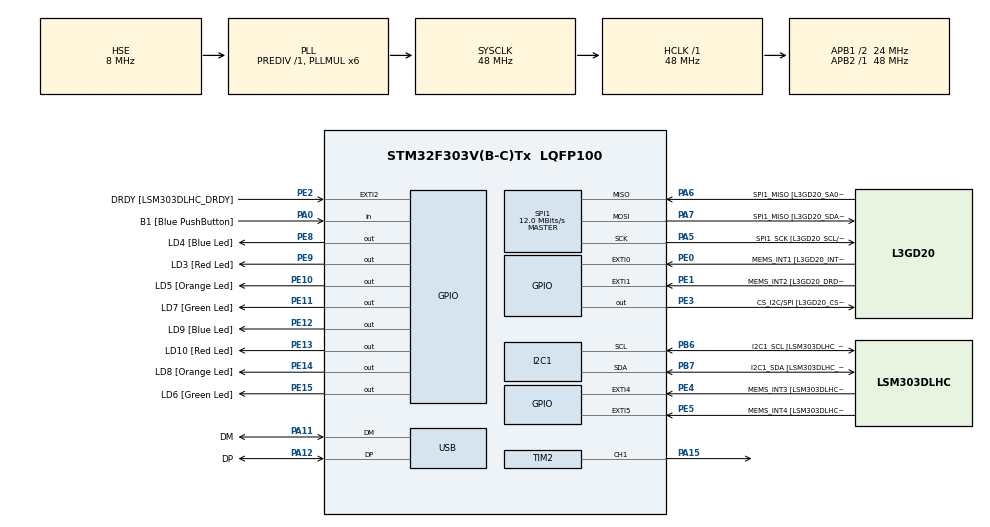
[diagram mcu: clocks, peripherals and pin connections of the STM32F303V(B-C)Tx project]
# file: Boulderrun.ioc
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I2C1.Timing=0x2000090E
I2C1.Timing-I2C=0x2000090E
Mcu.Family=STM32F3
Mcu.Name=STM32F303V(B-C)Tx
Mcu.Package=LQFP100
NVIC.PriorityGroup=NVIC_PRIORITYGROUP_0
PA0.GPIO_Label=B1 [Blue PushButton]
PA0.Signal=GPIO_Input
PA11.GPIO_Label=DM
PA11.Mode=Device
PA11.Signal=USB_DM
PA12.GPIO_Label=DP
PA12.Mode=Device
PA12.Signal=USB_DP
PA13.GPIO_Label=SWDIO
PA13.Mode=Serial_Wire
PA13.Signal=SYS_JTMS-SWDIO
PA14.GPIO_Label=SWCLK
PA14.Mode=Serial_Wire
PA14.Signal=SYS_JTCK-SWCLK
PA15.Signal=S_TIM2_CH1_ETR
PA5.GPIO_Label=SPI1_SCK [L3GD20_SCL/SPC]
PA5.Mode=Full_Duplex_Master
PA5.Signal=SPI1_SCK
PA6.GPIO_Label=SPI1_MISO [L3GD20_SA0/SDO]
PA6.Mode=Full_Duplex_Master
PA6.Signal=SPI1_MISO
PA7.GPIO_Label=SPI1_MISO [L3GD20_SDA/SDI/SDO]
PA7.Mode=Full_Duplex_Master
PA7.Signal=SPI1_MOSI
PB3.GPIO_Label=SWO
PB3.Signal=SYS_JTDO-TRACESWO
PB6.GPIO_Label=I2C1_SCL [LSM303DLHC_SCL]
PB6.GPIO_Pu=GPIO_PULLUP
PB6.Mode=I2C
PB6.Signal=I2C1_SCL
PB7.GPIO_Label=I2C1_SDA [LSM303DLHC_SDA]
PB7.GPIO_Pu=GPIO_PULLUP
PB7.Mode=I2C
PB7.Signal=I2C1_SDA
PC14-OSC32_IN.GPIO_Label=OSC32_IN
PC14-OSC32_IN.Signal=RCC_OSC32_IN
PC15-OSC32_OUT.GPIO_Label=OSC32_OUT
PC15-OSC32_OUT.Signal=RCC_OSC32_OUT
PE0.GPIO_Label=MEMS_INT1 [L3GD20_INT1]
PE0.GPIO_ModeDefaultEXTI=GPIO_MODE_EVT_RISING
PE0.Signal=GPXTI0
PE1.GPIO_Label=MEMS_INT2 [L3GD20_DRDY/INT2]
PE1.GPIO_ModeDefaultEXTI=GPIO_MODE_EVT_RISING
PE1.Signal=GPXTI1
PE10.GPIO_Label=LD5 [Orange Led]
PE10.Signal=GPIO_Output
PE11.GPIO_Label=LD7 [Green Led]
PE11.Signal=GPIO_Output
PE12.GPIO_Label=LD9 [Blue Led]
PE12.Signal=GPIO_Output
PE13.GPIO_Label=LD10 [Red Led]
PE13.Signal=GPIO_Output
PE14.GPIO_Label=LD8 [Orange Led]
PE14.Signal=GPIO_Output
PE15.GPIO_Label=LD6 [Green Led]
PE15.Signal=GPIO_Output
PE2.GPIO_Label=DRDY [LSM303DLHC_DRDY]
PE2.GPIO_ModeDefaultEXTI=GPIO_MODE_EVT_RISING
PE2.Signal=GPXTI2
PE3.GPIO_Label=CS_I2C/SPI [L3GD20_CS_I2C/SPI]
PE3.Signal=GPIO_Output
PE4.GPIO_Label=MEMS_INT3 [LSM303DLHC_INT1]
PE4.GPIO_ModeDefaultEXTI=GPIO_MODE_EVT_RISING
PE4.Signal=GPXTI4
PE5.GPIO_Label=MEMS_INT4 [LSM303DLHC_INT2]
PE5.GPIO_ModeDefaultEXTI=GPIO_MODE_EVT_RISING
PE5.Signal=GPXTI5
PE8.GPIO_Label=LD4 [Blue Led]
PE8.Signal=GPIO_Output
PE9.GPIO_Label=LD3 [Red Led]
PE9.Signal=GPIO_Output
PF0-OSC_IN.GPIO_Label=OSC_IN
PF0-OSC_IN.Mode=HSE-External-Clock-Source
PF0-OSC_IN.Signal=RCC_OSC_IN
PF1-OSC_OUT.GPIO_Label=OSC_OUT
PF1-OSC_OUT.Signal=RCC_OSC_OUT
ProjectManager.HeapSize=0x200
ProjectManager.StackSize=0x400
ProjectManager.TargetToolchain=STM32CubeIDE
RCC.AHBFreq_Value=48000000
RCC.APB1CLKDivider=RCC_HCLK_DIV2
RCC.APB1Freq_Value=24000000
RCC.APB1TimFreq_Value=48000000
RCC.APB2Freq_Value=48000000
RCC.APB2TimFreq_Value=48000000
RCC.CortexFreq_Value=48000000
RCC.HCLKFreq_Value=48000000
RCC.HSE_VALUE=8000000
RCC.HSI_VALUE=8000000
RCC.LSE_VALUE=32768
RCC.PLLMUL=RCC_PLL_MUL6
RCC.SYSCLKFreq_VALUE=48000000
RCC.SYSCLKSourceVirtual=RCC_SYSCLKSOURCE_PLLCLK
RCC.USBFreq_Value=48000000
SH.S_TIM2_CH1_ETR.0=TIM2_CH1,PWM Generation1 CH1
SPI1.BaudRatePrescaler=SPI_BAUDRATEPRESCALER_4
SPI1.BaudRatePrescaler-Full_Duplex_Master=SPI_BAUDRATEPRESCALER_2
SPI1.CalculateBaudRate=12.0 MBits/s
SPI1.CalculateBaudRate-Full_Duplex_Master=24.0 MBits/s
SPI1.Direction=SPI_DIRECTION_2LINES
SPI1.Mode=SPI_MODE_MASTER
SPI1.Mode-Full_Duplex_Master=SPI_MODE_MASTER
SPI1.VirtualType=VM_MASTER
TIM2.Channel-PWM\ Generation1\ CH1=TIM_CHANNEL_1
TIM2.Period=20000
TIM2.Prescaler=47
board=STM32F3DISCOVERY

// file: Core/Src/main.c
/* USER CODE BEGIN Header */
/**
  ******************************************************************************
  * @file           : main.c
  * @brief          : Main program body
  ******************************************************************************
  * @attention
  *
  * Copyright (c) 2025 STMicroelectronics.
  * All rights reserved.
  *
  * This software is licensed under terms that can be found in the LICENSE file
  * in the root directory of this software component.
  * If no LICENSE file comes with this software, it is provided AS-IS.
  *
  ******************************************************************************
  */
/* USER CODE END Header */
#include <delay.h>
#include "main.h"
#include <stdint.h>
#include <stdbool.h>
#include "enable.h"
#include "led.h"
#include "adc.h"
#include "beats.h"

I2C_HandleTypeDef hi2c1;

SPI_HandleTypeDef hspi1;

TIM_HandleTypeDef htim2;

PCD_HandleTypeDef hpcd_USB_FS;

void SystemClock_Config(void);
static void MX_GPIO_Init(void);
static void MX_I2C1_Init(void);
static void MX_SPI1_Init(void);
static void MX_USB_PCD_Init(void);
static void MX_TIM2_Init(void);

/* USER CODE BEGIN 0 */

static bool memory_game_finished = false;

void memory_game_complete() {
	memory_game_finished = true;
}

/* USER CODE END 0 */

int main(void)
{

  /* USER CODE BEGIN 1 */

	  /* Reset of all peripherals, Initializes the Flash interface and the Systick. */
	  HAL_Init();

	  SystemClock_Config();

	  __HAL_RCC_GPIOA_CLK_ENABLE();

	  /* Initialize all configured peripherals */
	  MX_GPIO_Init();
	  MX_I2C1_Init();
	  MX_SPI1_Init();
	  MX_USB_PCD_Init();

	  // Memory game
	  init_buttons();
	  finally_module_complete = memory_game_complete;

	  while (memory_game_finished == false) {
	  }

/*The code below enables pin A5 to an ADC converter and constantly checks if the read voltage has gone
 * out of range of the set buffer. If so one led turns on to notify the user they have one second to
 * simulate the same voltage. If after one second the reading is still different the motor will turn counter-
 * clockwise by 45 degrees. If after one second the voltage is set back to within teh buffer the light turns
 * off and nothing happens. */

  /* USER CODE END 1 */

  /* MCU Configuration--------------------------------------------------------*/

  /* Reset of all peripherals, Initializes the Flash interface and the Systick. */
  HAL_Init();

  /* Configure the system clock */
  SystemClock_Config();

  /* Initialize all configured peripherals */
  MX_GPIO_Init();
  MX_I2C1_Init();
  MX_SPI1_Init();
  MX_USB_PCD_Init();
  MX_TIM2_Init();
  /* USER CODE BEGIN 2 */

  /*enable pwm with timer 2 to pin A15*/
  HAL_TIM_PWM_Start(&htim2, TIM_CHANNEL_1);
  enable_clocks();
  //Enable LEDs
  initialise_board();
  //Enable ADC converter in pin A5
  enable_ADC();
  //Buffer that the read voltage has to stay within.
  uint32_t buffer = 50;
  /* USER CODE END 2 */

  /* Infinite loop */
  /* USER CODE BEGIN WHILE */
  //This sets the base voltage that must kept within range of
  uint16_t set_voltage = ReadADC();
//Rotate motor clockwise
  TIM2->CCR1 = 1000;
//delay function delays the board by a certain time in ms
//the delay is equivalent to 45 degrees
  delay(250);
  //Stop motor
  TIM2->CCR1 = 0;

  while (1)
  {
	  //Read the voltage
	  uint16_t current_voltage = ReadADC();
	  //If voltage is out of scope proceed
		if (current_voltage - buffer > set_voltage || current_voltage + buffer < set_voltage){
			//Turn on one LED
			set_led_register(1);
			//Wait 1 second
			delay(1000);
			//Check the current voltage again
			current_voltage = ReadADC();
			//Checks if still out of scope
			if (current_voltage - buffer > set_voltage || current_voltage + buffer < set_voltage){
			//Turn on two LEDs
			set_led_register(3);
			//Rotate motor counter-clockwise
			TIM2->CCR1 = 2000;
			//Delay equivalent to 45 dgrees
			delay(250);
			TIM2->CCR1 = 0;
			//Stop motor
			while(1){}
			}
		}else{
			//If voltage still in range do nothing and continue loop
			set_led_register(0);
			TIM2->CCR1 = 0;
		}
    /* USER CODE END WHILE */

  }
}

void SystemClock_Config(void)
{
  RCC_OscInitTypeDef RCC_OscInitStruct = {0};
  RCC_ClkInitTypeDef RCC_ClkInitStruct = {0};
  RCC_PeriphCLKInitTypeDef PeriphClkInit = {0};

  /** Initializes the RCC Oscillators according to the specified parameters
  * in the RCC_OscInitTypeDef structure.
  */
  RCC_OscInitStruct.OscillatorType = RCC_OSCILLATORTYPE_HSI|RCC_OSCILLATORTYPE_HSE;
  RCC_OscInitStruct.HSEState = RCC_HSE_BYPASS;
  RCC_OscInitStruct.HSEPredivValue = RCC_HSE_PREDIV_DIV1;
  RCC_OscInitStruct.HSIState = RCC_HSI_ON;
  RCC_OscInitStruct.HSICalibrationValue = RCC_HSICALIBRATION_DEFAULT;
  RCC_OscInitStruct.PLL.PLLState = RCC_PLL_ON;
  RCC_OscInitStruct.PLL.PLLSource = RCC_PLLSOURCE_HSE;
  RCC_OscInitStruct.PLL.PLLMUL = RCC_PLL_MUL6;
  if (HAL_RCC_OscConfig(&RCC_OscInitStruct) != HAL_OK)
  {
    Error_Handler();
  }

  /** Initializes the CPU, AHB and APB buses clocks
  */
  RCC_ClkInitStruct.ClockType = RCC_CLOCKTYPE_HCLK|RCC_CLOCKTYPE_SYSCLK
                              |RCC_CLOCKTYPE_PCLK1|RCC_CLOCKTYPE_PCLK2;
  RCC_ClkInitStruct.SYSCLKSource = RCC_SYSCLKSOURCE_PLLCLK;
  RCC_ClkInitStruct.AHBCLKDivider = RCC_SYSCLK_DIV1;
  RCC_ClkInitStruct.APB1CLKDivider = RCC_HCLK_DIV2;
  RCC_ClkInitStruct.APB2CLKDivider = RCC_HCLK_DIV1;

  if (HAL_RCC_ClockConfig(&RCC_ClkInitStruct, FLASH_LATENCY_1) != HAL_OK)
  {
    Error_Handler();
  }
  PeriphClkInit.PeriphClockSelection = RCC_PERIPHCLK_USB|RCC_PERIPHCLK_I2C1;
  PeriphClkInit.I2c1ClockSelection = RCC_I2C1CLKSOURCE_HSI;
  PeriphClkInit.USBClockSelection = RCC_USBCLKSOURCE_PLL;
  if (HAL_RCCEx_PeriphCLKConfig(&PeriphClkInit) != HAL_OK)
  {
    Error_Handler();
  }
}

static void MX_I2C1_Init(void)
{

  hi2c1.Instance = I2C1;
  hi2c1.Init.Timing = 0x2000090E;
  hi2c1.Init.OwnAddress1 = 0;
  hi2c1.Init.AddressingMode = I2C_ADDRESSINGMODE_7BIT;
  hi2c1.Init.DualAddressMode = I2C_DUALADDRESS_DISABLE;
  hi2c1.Init.OwnAddress2 = 0;
  hi2c1.Init.OwnAddress2Masks = I2C_OA2_NOMASK;
  hi2c1.Init.GeneralCallMode = I2C_GENERALCALL_DISABLE;
  hi2c1.Init.NoStretchMode = I2C_NOSTRETCH_DISABLE;
  if (HAL_I2C_Init(&hi2c1) != HAL_OK)
  {
    Error_Handler();
  }

  /** Configure Analogue filter
  */
  if (HAL_I2CEx_ConfigAnalogFilter(&hi2c1, I2C_ANALOGFILTER_ENABLE) != HAL_OK)
  {
    Error_Handler();
  }

  /** Configure Digital filter
  */
  if (HAL_I2CEx_ConfigDigitalFilter(&hi2c1, 0) != HAL_OK)
  {
    Error_Handler();
  }

}

static void MX_SPI1_Init(void)
{

  /* SPI1 parameter configuration*/
  hspi1.Instance = SPI1;
  hspi1.Init.Mode = SPI_MODE_MASTER;
  hspi1.Init.Direction = SPI_DIRECTION_2LINES;
  hspi1.Init.DataSize = SPI_DATASIZE_4BIT;
  hspi1.Init.CLKPolarity = SPI_POLARITY_LOW;
  hspi1.Init.CLKPhase = SPI_PHASE_1EDGE;
  hspi1.Init.NSS = SPI_NSS_SOFT;
  hspi1.Init.BaudRatePrescaler = SPI_BAUDRATEPRESCALER_4;
  hspi1.Init.FirstBit = SPI_FIRSTBIT_MSB;
  hspi1.Init.TIMode = SPI_TIMODE_DISABLE;
  hspi1.Init.CRCCalculation = SPI_CRCCALCULATION_DISABLE;
  hspi1.Init.CRCPolynomial = 7;
  hspi1.Init.CRCLength = SPI_CRC_LENGTH_DATASIZE;
  hspi1.Init.NSSPMode = SPI_NSS_PULSE_ENABLE;
  if (HAL_SPI_Init(&hspi1) != HAL_OK)
  {
    Error_Handler();
  }

}

static void MX_TIM2_Init(void)
{

  TIM_MasterConfigTypeDef sMasterConfig = {0};
  TIM_OC_InitTypeDef sConfigOC = {0};

  htim2.Instance = TIM2;
  htim2.Init.Prescaler = 47;
  htim2.Init.CounterMode = TIM_COUNTERMODE_UP;
  htim2.Init.Period = 20000;
  htim2.Init.ClockDivision = TIM_CLOCKDIVISION_DIV1;
  htim2.Init.AutoReloadPreload = TIM_AUTORELOAD_PRELOAD_DISABLE;
  if (HAL_TIM_PWM_Init(&htim2) != HAL_OK)
  {
    Error_Handler();
  }
  sMasterConfig.MasterOutputTrigger = TIM_TRGO_RESET;
  sMasterConfig.MasterSlaveMode = TIM_MASTERSLAVEMODE_DISABLE;
  if (HAL_TIMEx_MasterConfigSynchronization(&htim2, &sMasterConfig) != HAL_OK)
  {
    Error_Handler();
  }
  sConfigOC.OCMode = TIM_OCMODE_PWM1;
  sConfigOC.Pulse = 0;
  sConfigOC.OCPolarity = TIM_OCPOLARITY_HIGH;
  sConfigOC.OCFastMode = TIM_OCFAST_DISABLE;
  if (HAL_TIM_PWM_ConfigChannel(&htim2, &sConfigOC, TIM_CHANNEL_1) != HAL_OK)
  {
    Error_Handler();
  }
  HAL_TIM_MspPostInit(&htim2);

}

static void MX_USB_PCD_Init(void)
{

  hpcd_USB_FS.Instance = USB;
  hpcd_USB_FS.Init.dev_endpoints = 8;
  hpcd_USB_FS.Init.speed = PCD_SPEED_FULL;
  hpcd_USB_FS.Init.phy_itface = PCD_PHY_EMBEDDED;
  hpcd_USB_FS.Init.low_power_enable = DISABLE;
  hpcd_USB_FS.Init.battery_charging_enable = DISABLE;
  if (HAL_PCD_Init(&hpcd_USB_FS) != HAL_OK)
  {
    Error_Handler();
  }

}

static void MX_GPIO_Init(void)
{
  GPIO_InitTypeDef GPIO_InitStruct = {0};

  /* GPIO Ports Clock Enable */
  __HAL_RCC_GPIOE_CLK_ENABLE();
  __HAL_RCC_GPIOC_CLK_ENABLE();
  __HAL_RCC_GPIOF_CLK_ENABLE();
  __HAL_RCC_GPIOA_CLK_ENABLE();
  __HAL_RCC_GPIOB_CLK_ENABLE();

  /*Configure GPIO pin Output Level */
  HAL_GPIO_WritePin(GPIOE, CS_I2C_SPI_Pin|LD4_Pin|LD3_Pin|LD5_Pin
                          |LD7_Pin|LD9_Pin|LD10_Pin|LD8_Pin
                          |LD6_Pin, GPIO_PIN_RESET);

  /*Configure GPIO pins : DRDY_Pin MEMS_INT3_Pin MEMS_INT4_Pin MEMS_INT1_Pin
                           MEMS_INT2_Pin */
  GPIO_InitStruct.Pin = DRDY_Pin|MEMS_INT3_Pin|MEMS_INT4_Pin|MEMS_INT1_Pin
                          |MEMS_INT2_Pin;
  GPIO_InitStruct.Mode = GPIO_MODE_EVT_RISING;
  GPIO_InitStruct.Pull = GPIO_NOPULL;
  HAL_GPIO_Init(GPIOE, &GPIO_InitStruct);

  /*Configure GPIO pins : CS_I2C_SPI_Pin LD4_Pin LD3_Pin LD5_Pin
                           LD7_Pin LD9_Pin LD10_Pin LD8_Pin
                           LD6_Pin */
  GPIO_InitStruct.Pin = CS_I2C_SPI_Pin|LD4_Pin|LD3_Pin|LD5_Pin
                          |LD7_Pin|LD9_Pin|LD10_Pin|LD8_Pin
                          |LD6_Pin;
  GPIO_InitStruct.Mode = GPIO_MODE_OUTPUT_PP;
  GPIO_InitStruct.Pull = GPIO_NOPULL;
  GPIO_InitStruct.Speed = GPIO_SPEED_FREQ_LOW;
  HAL_GPIO_Init(GPIOE, &GPIO_InitStruct);

  /*Configure GPIO pin : B1_Pin */
  GPIO_InitStruct.Pin = B1_Pin;
  GPIO_InitStruct.Mode = GPIO_MODE_INPUT;
  GPIO_InitStruct.Pull = GPIO_NOPULL;
  HAL_GPIO_Init(B1_GPIO_Port, &GPIO_InitStruct);

}

void Error_Handler(void)
{
  __disable_irq();
  while (1)
  {
  }
}
